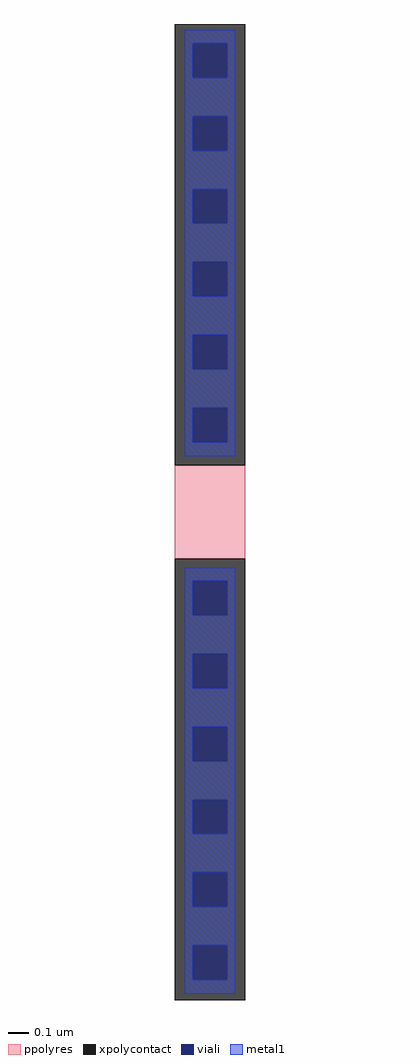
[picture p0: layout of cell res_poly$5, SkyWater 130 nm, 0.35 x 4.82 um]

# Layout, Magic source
magic
tech sky130A
magscale 1 2
<< xpolycontact >>
rect 92 568 162 1004
rect 92 40 162 476
<< ppolyres >>
rect 92 476 162 568
<< viali >>
rect 110 951 144 985
rect 110 879 144 913
rect 110 807 144 841
rect 110 735 144 769
rect 110 663 144 697
rect 110 591 144 625
rect 110 420 144 454
rect 110 348 144 382
rect 110 276 144 310
rect 110 204 144 238
rect 110 132 144 166
rect 110 60 144 94
<< metal1 >>
rect 102 985 152 998
rect 102 951 110 985
rect 144 951 152 985
rect 102 913 152 951
rect 102 879 110 913
rect 144 879 152 913
rect 102 841 152 879
rect 102 807 110 841
rect 144 807 152 841
rect 102 769 152 807
rect 102 735 110 769
rect 144 735 152 769
rect 102 697 152 735
rect 102 663 110 697
rect 144 663 152 697
rect 102 625 152 663
rect 102 591 110 625
rect 144 591 152 625
rect 102 577 152 591
rect 102 454 152 467
rect 102 420 110 454
rect 144 420 152 454
rect 102 382 152 420
rect 102 348 110 382
rect 144 348 152 382
rect 102 310 152 348
rect 102 276 110 310
rect 144 276 152 310
rect 102 238 152 276
rect 102 204 110 238
rect 144 204 152 238
rect 102 166 152 204
rect 102 132 110 166
rect 144 132 152 166
rect 102 94 152 132
rect 102 60 110 94
rect 144 60 152 94
rect 102 46 152 60
<< end >>
